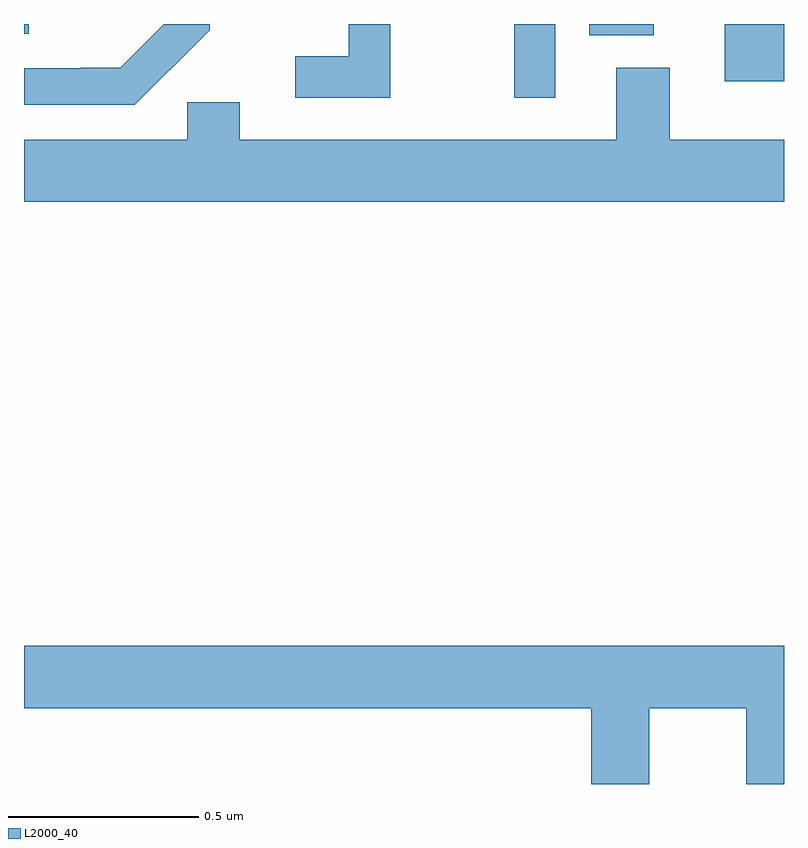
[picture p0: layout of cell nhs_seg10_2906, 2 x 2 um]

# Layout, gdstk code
import gdstk
lib = gdstk.Library(unit=1e-6, precision=1e-09)
def R(c, l, rs):  # rectangles x0, y0, x1, y1
    for r in rs: c.add(gdstk.rectangle(r[:2], r[2:], *l))
def P(c, l, *ps):  # polygons
    for p in ps: c.add(gdstk.Polygon(p, *l))
L2000_40 = (2000, 40)

nhs_seg10_2906 = lib.new_cell('nhs_seg10_2906')
R(nhs_seg10_2906, L2000_40, [(148.29,1251.306,148.398,1251.5), (148.844,1251.35,149,1251.5), (148.487,1251.47,148.657,1251.5), (147,1251.474,147.012,1251.5)])
P(nhs_seg10_2906, L2000_40, [(147.383,1251.379),(147.384,1251.378),(147.489,1251.483),(147.489,1251.5),(147.368,1251.5),(147.253,1251.385),(147.149,1251.385),(147.149,1251.384),(147,1251.384),(147,1251.288),(147.292,1251.288)],
  [(147.964,1251.5),(147.854,1251.5),(147.854,1251.415),(147.714,1251.415),(147.714,1251.306),(147.964,1251.306)],
  [(149,1251.196),(148.699,1251.196),(148.699,1251.385),(148.559,1251.385),(148.559,1251.196),(147.568,1251.196),(147.568,1251.294),(147.429,1251.294),(147.429,1251.196),(147,1251.196),(147,1251.032),(149,1251.032)],
  [(148.645,1249.7),(148.901,1249.7),(148.901,1249.5),(149,1249.5),(149,1249.864),(147,1249.864),(147,1249.7),(148.493,1249.7),(148.493,1249.5),(148.645,1249.5)])

lib.write_gds('nhs_seg10_2906.gds')
